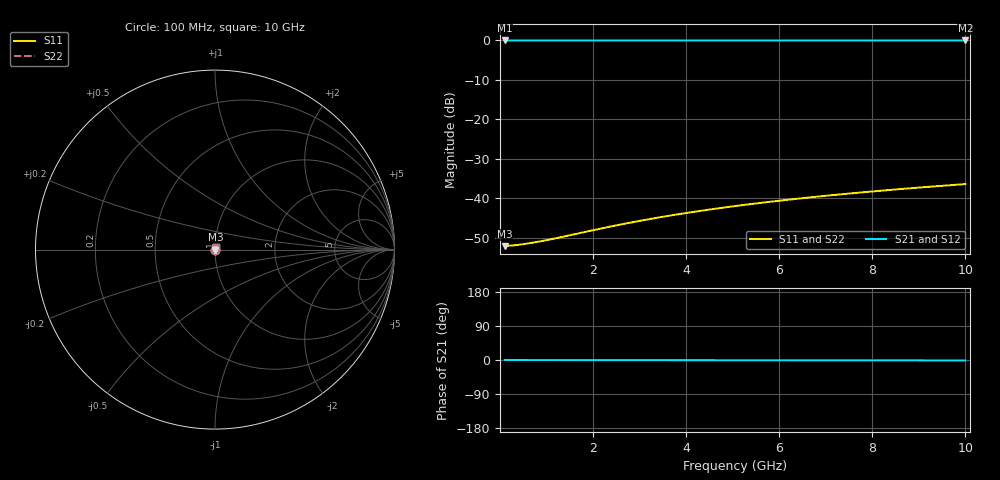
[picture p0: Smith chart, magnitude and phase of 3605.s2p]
# Hz S RI R 50.00
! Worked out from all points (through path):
!   100 points, 100 MHz to 10 GHz, reference 50 ohm
!   highest |S21| = -0.02 dB at 100 MHz (marker M1); lowest = 0.0 dB at 10 GHz (marker M2)
!   lowest |S11| = -52.2 dB at 100 MHz (marker M3), VSWR 1.00, Z = 50.2 + j0.0149 ohm
!   |S11| at or under -10 dB: start of sweep to end of sweep
!   |S22| runs from -52.2 to -36.4 dB; largest |S21 - S12| = 0
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1e8  0.00246 0.000148  0.9975 -0.000197  0.9975 -0.000197  0.00246 0.000148
4e8  0.0025 0.000591  0.9975 -0.000788  0.9975 -0.000788  0.0025 0.000591
6e8  0.00251 0.000887  0.9975 -0.00118  0.9975 -0.00118  0.00251 0.000887
8e8  0.00253 0.00118  0.9975 -0.00158  0.9975 -0.00158  0.00253 0.00118
1e9  0.00254 0.00148  0.9975 -0.00197  0.9975 -0.00197  0.00254 0.00148
1.2e9  0.00255 0.00177  0.9975 -0.00236  0.9975 -0.00236  0.00255 0.00177
1.8e9  0.00257 0.00266  0.9974 -0.00355  0.9974 -0.00355  0.00257 0.00266
2.2e9  0.00259 0.00325  0.9974 -0.00433  0.9974 -0.00433  0.00259 0.00325
2.6e9  0.0026 0.00384  0.9974 -0.00512  0.9974 -0.00512  0.0026 0.00384
3e9  0.00262 0.00443  0.9974 -0.00591  0.9974 -0.00591  0.00262 0.00443
3.4e9  0.00264 0.00502  0.9974 -0.0067  0.9974 -0.0067  0.00264 0.00502
3.8e9  0.00265 0.00562  0.9973 -0.00749  0.9973 -0.00749  0.00265 0.00562
4.2e9  0.00267 0.00621  0.9973 -0.00828  0.9973 -0.00828  0.00267 0.00621
4.6e9  0.00268 0.0068  0.9973 -0.00906  0.9973 -0.00906  0.00268 0.0068
5.1e9  0.00271 0.00754  0.9973 -0.01  0.9973 -0.01  0.00271 0.00754
5.5e9  0.00272 0.00813  0.9973 -0.0108  0.9973 -0.0108  0.00272 0.00813
5.9e9  0.00274 0.00872  0.9972 -0.0116  0.9972 -0.0116  0.00274 0.00872
6.7e9  0.00278 0.0099  0.9972 -0.0132  0.9972 -0.0132  0.00278 0.0099
7.5e9  0.00283 0.0111  0.9972 -0.0148  0.9972 -0.0148  0.00283 0.0111
8.4e9  0.00288 0.0124  0.9971 -0.0166  0.9971 -0.0166  0.00288 0.0124
9.2e9  0.00293 0.0136  0.9971 -0.0181  0.9971 -0.0181  0.00293 0.0136
1e10  0.00299 0.0148  0.997 -0.0197  0.997 -0.0197  0.00299 0.0148
